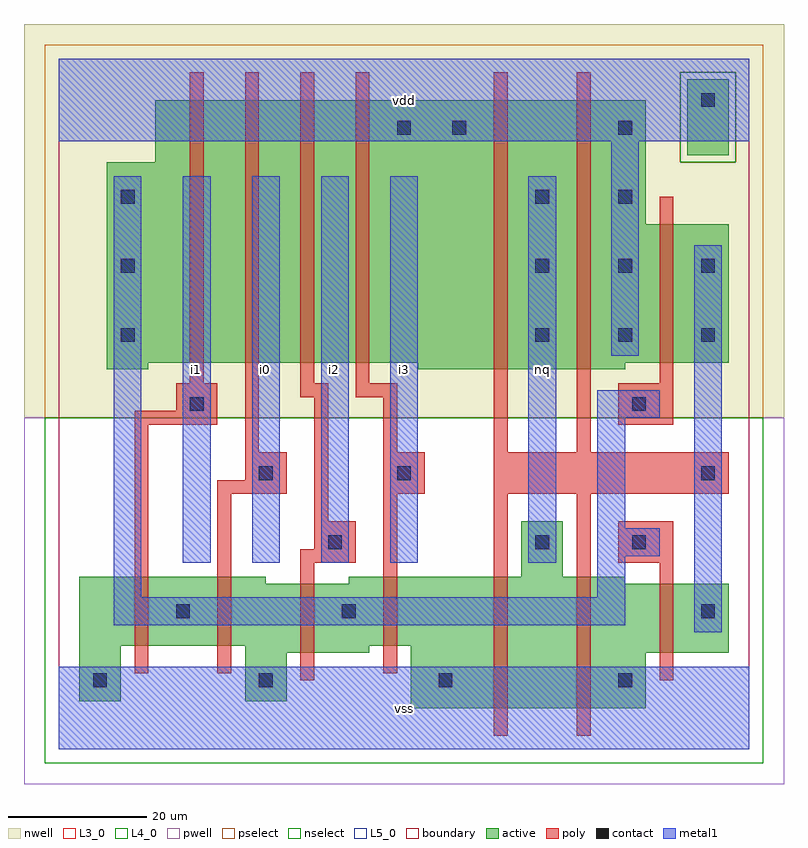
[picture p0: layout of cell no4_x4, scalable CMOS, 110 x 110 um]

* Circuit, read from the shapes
.subckt no4_x4 i0 i1 i2 i3 nq vdd vss
M1 n1 i1 vss VSUBS nfet w=10u l=2u
M2 vss i0 n1 VSUBS nfet w=10u l=2u
M3 n1 i2 vss VSUBS nfet w=10u l=2u
M4 vss i3 n1 VSUBS nfet w=10u l=2u
M5 nq n2 vss VSUBS nfet w=19u l=2u m=2
M6 n2 n1 vss VSUBS nfet w=10u l=2u
M7 n3 i1 n1 vdd pfet w=38u l=2u
M8 n4 i0 n3 vdd pfet w=38u l=2u
M9 n5 i2 n4 vdd pfet w=38u l=2u
M10 vdd i3 n5 vdd pfet w=38u l=2u
M11 nq n2 vdd vdd pfet w=39u l=2u m=2
M12 n2 n1 vdd vdd pfet w=20u l=2u
.ends

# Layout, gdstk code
import gdstk
lib = gdstk.Library(unit=1e-6, precision=1e-09)
def R(c, l, rs):  # rectangles x0, y0, x1, y1
    for r in rs: c.add(gdstk.rectangle(r[:2], r[2:], *l))
def A(c, l, x, y, w, h, nx, ny, dx, dy):  # array of equal rectangles
    R(c, l, [(x+i*dx, y+j*dy, x+i*dx+w, y+j*dy+h) for i in range(nx) for j in range(ny)])
L3_0 = (3, 0)
L4_0 = (4, 0)
L5_0 = (5, 0)
contact = (25, 0)
pwell = (41, 0)
nwell = (42, 0)
active = (43, 0)
pselect = (44, 0)
nselect = (45, 0)
poly = (46, 0)
metal1 = (49, 0)
boundary = (63, 0)

no4_x4 = lib.new_cell('no4_x4')
R(no4_x4, L3_0, [(51,6,85,14), (3,7,9,15), (27,7,33,14), (27,14,45,15), (51,14,97,15), (3,15,97,24), (3,24,30,25), (42,24,82,25), (67,25,73,33)])
R(no4_x4, L4_0, [(7,55,13,56), (52,55,82,56), (7,56,97,76), (7,76,85,85), (14,85,85,94)])
R(no4_x4, L5_0, [(91,86,97,97)])
A(no4_x4, contact, 29, 9, 2, 2, 3, 1, 26, 0)
A(no4_x4, contact, 9, 59, 2, 2, 1, 3, 0, 10)
A(no4_x4, contact, 69, 59, 2, 2, 3, 2, 12, 10)
R(no4_x4, contact, [(5,9,7,11), (17,19,19,21), (41,19,43,21), (93,19,95,21), (39,29,41,31), (69,29,71,31), (83,29,85,31), (29,39,31,41), (49,39,51,41), (93,39,95,41), (19,49,21,51), (83,49,85,51), (69,79,71,81), (81,79,83,81), (49,89,51,91), (57,89,59,91), (81,89,83,91), (93,93,95,95)])
R(no4_x4, pwell, [(-5,-5,105,48)])
R(no4_x4, nwell, [(-5,48,105,105)])
R(no4_x4, active, [(51,6,85,14), (3,7,9,15), (27,7,33,14), (27,14,45,15), (51,14,97,15), (3,15,97,24), (3,24,30,25), (42,24,82,25), (67,25,73,33), (7,55,13,56), (52,55,82,56), (7,56,97,76), (7,76,85,85), (14,85,85,94), (91,86,97,97)])
R(no4_x4, pselect, [(-2,48,102,85), (-2,85,90,98), (98,85,102,98), (-2,98,102,102)])
R(no4_x4, nselect, [(-2,-2,102,48), (90,85,98,98)])
R(no4_x4, poly, [(63,2,65,37), (75,2,77,37), (35,10,37,27), (87,10,89,27), (11,11,13,47), (23,11,25,37), (47,11,49,37), (35,27,43,29), (81,27,89,33), (37,29,43,33), (37,33,39,51), (23,37,33,39), (47,37,53,43), (63,37,97,43), (27,39,33,43), (27,43,29,98), (47,43,49,51), (63,43,65,98), (75,43,77,98), (11,47,23,49), (81,47,89,53), (17,49,23,53), (35,51,39,53), (43,51,49,53), (19,53,21,98), (35,53,37,98), (43,53,45,98), (87,53,89,80)])
A(no4_x4, metal1, 18, 27, 4, 56, 4, 1, 10, 0)
R(no4_x4, metal1, [(0,0,100,12), (92,17,96,73), (8,18,82,22), (8,22,12,83), (78,22,82,28), (68,27,72,83), (78,28,87,32), (78,32,82,48), (78,48,87,52), (80,57,84,88), (0,88,100,100)])
R(no4_x4, boundary, [(0,0,100,100)])
no4_x4.add(gdstk.Label('i1', (20,55), layer=49, texttype=0))
no4_x4.add(gdstk.Label('i0', (30,55), layer=49, texttype=0))
no4_x4.add(gdstk.Label('i2', (40,55), layer=49, texttype=0))
no4_x4.add(gdstk.Label('vss', (50,6), layer=49, texttype=0))
no4_x4.add(gdstk.Label('i3', (50,55), layer=49, texttype=0))
no4_x4.add(gdstk.Label('nq', (70,55), layer=49, texttype=0))
no4_x4.add(gdstk.Label('vdd', (50,94), layer=49, texttype=0))

lib.write_gds('no4_x4.gds')
